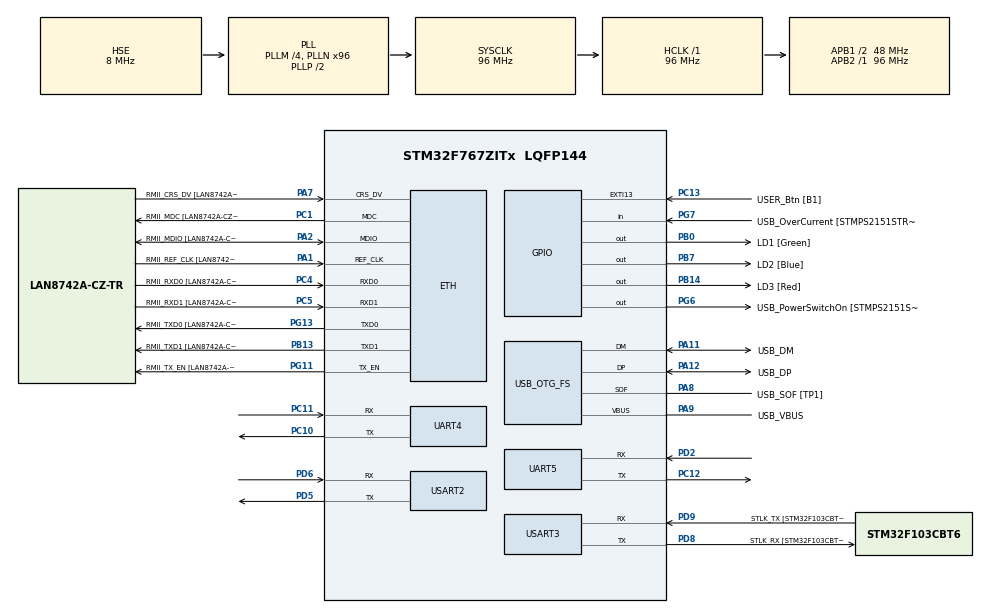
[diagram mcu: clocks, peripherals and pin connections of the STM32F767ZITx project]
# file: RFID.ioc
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ETH.MediaInterface=HAL_ETH_RMII_MODE
ETH.PHY_Name=LAN8742A_PHY_ADDRESS
ETH.PHY_Value=0
ETH.PhyAddress=0
Mcu.Family=STM32F7
Mcu.Name=STM32F767ZITx
Mcu.Package=LQFP144
NVIC.PriorityGroup=NVIC_PRIORITYGROUP_4
NVIC.TIM1_UP_TIM10_IRQn=true\:0\:0\:false\:false\:true\:true\:true\:true
NVIC.UART4_IRQn=true\:0\:0\:false\:false\:true\:true\:true\:true
NVIC.UART5_IRQn=true\:0\:0\:false\:false\:true\:true\:true\:true
NVIC.USART2_IRQn=true\:0\:0\:false\:false\:true\:true\:true\:true
NVIC.USART3_IRQn=true\:0\:0\:false\:false\:true\:true\:true\:true
PA1.GPIO_Label=RMII_REF_CLK [LAN8742A-CZ-TR_REFCLK0]
PA1.Mode=RMII
PA1.Signal=ETH_REF_CLK
PA10.GPIO_Label=USB_ID
PA10.Signal=USB_OTG_FS_ID
PA11.GPIO_Label=USB_DM
PA11.Mode=Device_Only
PA11.Signal=USB_OTG_FS_DM
PA12.GPIO_Label=USB_DP
PA12.Mode=Device_Only
PA12.Signal=USB_OTG_FS_DP
PA13.GPIO_Label=TMS
PA13.Mode=Serial_Wire
PA13.Signal=SYS_JTMS-SWDIO
PA14.GPIO_Label=TCK
PA14.Mode=Serial_Wire
PA14.Signal=SYS_JTCK-SWCLK
PA2.GPIO_Label=RMII_MDIO [LAN8742A-CZ-TR_MDIO]
PA2.Mode=RMII
PA2.Signal=ETH_MDIO
PA7.GPIO_Label=RMII_CRS_DV [LAN8742A-CZ-TR_CRS_DV]
PA7.Mode=RMII
PA7.Signal=ETH_CRS_DV
PA8.GPIO_Label=USB_SOF [TP1]
PA8.Mode=Activate_SOF_FS
PA8.Signal=USB_OTG_FS_SOF
PA9.GPIO_Label=USB_VBUS
PA9.Mode=Activate_VBUS
PA9.Signal=USB_OTG_FS_VBUS
PB0.GPIO_Label=LD1 [Green]
PB0.Signal=GPIO_Output
PB13.GPIO_Label=RMII_TXD1 [LAN8742A-CZ-TR_TXD1]
PB13.Mode=RMII
PB13.Signal=ETH_TXD1
PB14.GPIO_Label=LD3 [Red]
PB14.Signal=GPIO_Output
PB3.GPIO_Label=SWO
PB3.Signal=SYS_JTDO-SWO
PB7.GPIO_Label=LD2 [Blue]
PB7.Signal=GPIO_Output
PC1.GPIO_Label=RMII_MDC [LAN8742A-CZ-TR_MDC]
PC1.Mode=RMII
PC1.Signal=ETH_MDC
PC10.Mode=Asynchronous
PC10.Signal=UART4_TX
PC11.Mode=Asynchronous
PC11.Signal=UART4_RX
PC12.Mode=Asynchronous
PC12.Signal=UART5_TX
PC13.GPIO_Label=USER_Btn [B1]
PC13.Signal=GPXTI13
PC14/OSC32_IN.Mode=LSE-External-Oscillator
PC14/OSC32_IN.Signal=RCC_OSC32_IN
PC15/OSC32_OUT.Mode=LSE-External-Oscillator
PC15/OSC32_OUT.Signal=RCC_OSC32_OUT
PC4.GPIO_Label=RMII_RXD0 [LAN8742A-CZ-TR_RXD0]
PC4.Mode=RMII
PC4.Signal=ETH_RXD0
PC5.GPIO_Label=RMII_RXD1 [LAN8742A-CZ-TR_RXD1]
PC5.Mode=RMII
PC5.Signal=ETH_RXD1
PD2.Mode=Asynchronous
PD2.Signal=UART5_RX
PD5.Mode=Asynchronous
PD5.Signal=USART2_TX
PD6.Mode=Asynchronous
PD6.Signal=USART2_RX
PD8.GPIO_Label=STLK_RX [STM32F103CBT6_PA3]
PD8.Mode=Asynchronous
PD8.Signal=USART3_TX
PD9.GPIO_Label=STLK_TX [STM32F103CBT6_PA2]
PD9.Mode=Asynchronous
PD9.Signal=USART3_RX
PG11.GPIO_Label=RMII_TX_EN [LAN8742A-CZ-TR_TXEN]
PG11.Mode=RMII
PG11.Signal=ETH_TX_EN
PG13.GPIO_Label=RMII_TXD0 [LAN8742A-CZ-TR_TXD0]
PG13.Mode=RMII
PG13.Signal=ETH_TXD0
PG6.GPIO_Label=USB_PowerSwitchOn [STMPS2151STR_EN]
PG6.Signal=GPIO_Output
PG7.GPIO_Label=USB_OverCurrent [STMPS2151STR_FAULT]
PG7.Signal=GPIO_Input
PH0/OSC_IN.GPIO_Label=MCO [STM32F103CBT6_PA8]
PH0/OSC_IN.Mode=HSE-External-Clock-Source
PH0/OSC_IN.Signal=RCC_OSC_IN
PH1/OSC_OUT.Mode=HSE-External-Clock-Source
PH1/OSC_OUT.Signal=RCC_OSC_OUT
ProjectManager.HeapSize=0x200
ProjectManager.StackSize=0x400
ProjectManager.TargetToolchain=STM32CubeIDE
RCC.48MHZClocksFreq_Value=24000000
RCC.AHBFreq_Value=96000000
RCC.APB1CLKDivider=RCC_HCLK_DIV2
RCC.APB1Freq_Value=48000000
RCC.APB1TimFreq_Value=96000000
RCC.APB2Freq_Value=96000000
RCC.APB2TimFreq_Value=96000000
RCC.CortexFreq_Value=96000000
RCC.HCLKFreq_Value=96000000
RCC.HSE_VALUE=8000000
RCC.HSI_VALUE=16000000
RCC.PLLM=4
RCC.PLLMUL=RCC_PLL_MUL9
RCC.PLLN=96
RCC.PLLQ=4
RCC.PRESCALERUSB=RCC_USBCLKSOURCE_PLL_DIV1_5
RCC.SYSCLKFreq_VALUE=96000000
RCC.SYSCLKSource=RCC_SYSCLKSOURCE_PLLCLK
RCC.SYSCLKSourceVirtual=RCC_SYSCLKSOURCE_PLLCLK
RCC.USBFreq_Value=48000000
RCC.VCOOutputFreq_Value=192000000
TIM1.Period=1000-1
TIM1.Prescaler=9600-1
USART2.VirtualMode-Asynchronous=VM_ASYNC
USART3.VirtualMode-Asynchronous=VM_ASYNC
USB_OTG_FS.VirtualMode=Device_Only
VP_TIM1_VS_ClockSourceINT.Mode=Internal
board=NUCLEO-F767ZI

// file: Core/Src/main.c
/* USER CODE BEGIN Header */
/**
 ******************************************************************************
 * @file           : main.c
 * @brief          : Main program body
 ******************************************************************************
 * @attention
 *
 * Copyright (c) 2024 STMicroelectronics.
 * All rights reserved.
 *
 * This software is licensed under terms that can be found in the LICENSE file
 * in the root directory of this software component.
 * If no LICENSE file comes with this software, it is provided AS-IS.
 *
 ******************************************************************************
 */
/* USER CODE END Header */
#include "main.h"
#include "string.h"

/* USER CODE BEGIN Includes */
#include <stdio.h>
/* USER CODE END Includes */

/* USER CODE BEGIN PM */
#define UID_SIZE 8
#define BLOCK_SIZE 4
#define START_DGIT 12 //need data
#define DATA_LENGTH (UID_SIZE+2*BLOCK_SIZE)+4
#define READER_COUNT 3

typedef enum {
	READER0, READER1, READER2
} _RFID;
/* USER CODE END PM */

#if defined ( __ICCARM__ ) /*!< IAR Compiler */
#pragma location=0x2007c000
ETH_DMADescTypeDef  DMARxDscrTab[ETH_RX_DESC_CNT]; /* Ethernet Rx DMA Descriptors */
#pragma location=0x2007c0a0
ETH_DMADescTypeDef  DMATxDscrTab[ETH_TX_DESC_CNT]; /* Ethernet Tx DMA Descriptors */

#elif defined ( __CC_ARM )  /* MDK ARM Compiler */

__attribute__((at(0x2007c000))) ETH_DMADescTypeDef  DMARxDscrTab[ETH_RX_DESC_CNT]; /* Ethernet Rx DMA Descriptors */
__attribute__((at(0x2007c0a0))) ETH_DMADescTypeDef  DMATxDscrTab[ETH_TX_DESC_CNT]; /* Ethernet Tx DMA Descriptors */

#elif defined ( __GNUC__ ) /* GNU Compiler */
ETH_DMADescTypeDef DMARxDscrTab[ETH_RX_DESC_CNT] __attribute__((section(".RxDecripSection"))); /* Ethernet Rx DMA Descriptors */
ETH_DMADescTypeDef DMATxDscrTab[ETH_TX_DESC_CNT] __attribute__((section(".TxDecripSection")));   /* Ethernet Tx DMA Descriptors */

#endif

ETH_TxPacketConfig TxConfig;

ETH_HandleTypeDef heth;

TIM_HandleTypeDef htim1;

UART_HandleTypeDef huart4;
UART_HandleTypeDef huart5;
UART_HandleTypeDef huart2;
UART_HandleTypeDef huart3;

PCD_HandleTypeDef hpcd_USB_OTG_FS;

/* USER CODE BEGIN PV */
uint8_t rfid_tag_data[READER_COUNT][DATA_LENGTH] = { 0, };
uint8_t select_rfid = 0;

uint8_t uart2_buffer; //READER0
uint8_t uart4_buffer; //READER1
uint8_t uart5_buffer; //READER2

uint8_t flag_isTag0 = 0; //reader0 tag exist
uint8_t flag_isTag1 = 0; //reader1 tag exist
uint8_t flag_isTag2 = 0; //reader2 tag exist

uint16_t reader_cnt[3] = {0,}; //reader0 reading count

uint8_t flag_check = 0;

volatile uint8_t command[6] = { 0x33, 0x06, 0xA1, 0x00, 0x02, 0x99 }; //2 Block data read
volatile uint8_t start_scan_cmd[4] = { 0x33, 0x04, 0xB1, 0x99 }; //Start scan mode.
/* USER CODE END PV */

void SystemClock_Config(void);
static void MX_GPIO_Init(void);
static void MX_ETH_Init(void);
static void MX_USART3_UART_Init(void);
static void MX_USB_OTG_FS_PCD_Init(void);
static void MX_UART4_Init(void);
static void MX_TIM1_Init(void);
static void MX_UART5_Init(void);
static void MX_USART2_UART_Init(void);

/* USER CODE BEGIN 0 */
#ifdef __GNUC__
#define PUTCHAR_PROTOTYPE int __io_putchar(int ch)
#else
#define PUTCHAR_PROTOTYPE int fputc(int ch, FILE *f)
#endif

PUTCHAR_PROTOTYPE {
	HAL_UART_Transmit(&huart3, (uint8_t*) &ch, 1, 0xFFFF);
	return ch;
}
/* USER CODE END 0 */

int main(void)
{

  /* MCU Configuration--------------------------------------------------------*/

  /* Reset of all peripherals, Initializes the Flash interface and the Systick. */
  HAL_Init();

  /* Configure the system clock */
  SystemClock_Config();

  /* Initialize all configured peripherals */
  MX_GPIO_Init();
  MX_ETH_Init();
  MX_USART3_UART_Init();
  MX_USB_OTG_FS_PCD_Init();
  MX_UART4_Init();
  MX_TIM1_Init();
  MX_UART5_Init();
  MX_USART2_UART_Init();
  /* USER CODE BEGIN 2 */
	HAL_TIM_Base_Start_IT(&htim1); //RFID TAG check timer start.

	HAL_UART_Receive_IT(&huart2, &uart4_buffer, 1); //READER0 start UART
	HAL_UART_Receive_IT(&huart4, &uart4_buffer, 1); //READER1 start UART
	HAL_UART_Receive_IT(&huart5, &uart5_buffer, 1); //READER2 start UART

	HAL_Delay(1000); //Give Init time for reset of RFID Reader.

	//	HAL_UART_Transmit_IT(&huart4, (uint8_t*) start_scan_cmd, 4);
	printf("-----RFID system start-----\r\n");
  /* USER CODE END 2 */

  /* Infinite loop */
	while (1) {

    /* USER CODE BEGIN 3 */
		/*		if(flag_check==1){
		 flag_check=0;
		 }*/

		if (flag_isTag0 == 1 || flag_isTag1 == 1 || flag_isTag2 == 1) {

/*			printf("Reader%d Total count : %d\r\nUID : ", select_rfid,reader_cnt[select_rfid]);
			for (int number = 12; number < 20; number++) {
				printf("%02X ", rfid_tag_data[select_rfid][number]);
			}
			printf("\r\n");*/
			printf("Reader%d Total count : %d\r\nUID : ", select_rfid,reader_cnt[select_rfid]);
			for (int number = START_DGIT; number < START_DGIT+BLOCK_SIZE; number++) {
				printf("%02X",rfid_tag_data[select_rfid][number]);
			}
			printf(" %s\r\n",&rfid_tag_data[select_rfid][START_DGIT+BLOCK_SIZE]);
//			printf("R0 : %d R1 : %d R2 : %d\r\n", reader_cnt[0], reader_cnt[1], reader_cnt[2]);
			flag_isTag0 = 0;
			flag_isTag1 = 0;
			flag_isTag2 = 0;
		}

	}
  /* USER CODE END 3 */
}

void SystemClock_Config(void)
{
  RCC_OscInitTypeDef RCC_OscInitStruct = {0};
  RCC_ClkInitTypeDef RCC_ClkInitStruct = {0};

  /** Configure LSE Drive Capability
  */
  HAL_PWR_EnableBkUpAccess();

  /** Configure the main internal regulator output voltage
  */
  __HAL_RCC_PWR_CLK_ENABLE();
  __HAL_PWR_VOLTAGESCALING_CONFIG(PWR_REGULATOR_VOLTAGE_SCALE3);

  /** Initializes the RCC Oscillators according to the specified parameters
  * in the RCC_OscInitTypeDef structure.
  */
  RCC_OscInitStruct.OscillatorType = RCC_OSCILLATORTYPE_HSE;
  RCC_OscInitStruct.HSEState = RCC_HSE_BYPASS;
  RCC_OscInitStruct.PLL.PLLState = RCC_PLL_ON;
  RCC_OscInitStruct.PLL.PLLSource = RCC_PLLSOURCE_HSE;
  RCC_OscInitStruct.PLL.PLLM = 4;
  RCC_OscInitStruct.PLL.PLLN = 96;
  RCC_OscInitStruct.PLL.PLLP = RCC_PLLP_DIV2;
  RCC_OscInitStruct.PLL.PLLQ = 4;
  RCC_OscInitStruct.PLL.PLLR = 2;
  if (HAL_RCC_OscConfig(&RCC_OscInitStruct) != HAL_OK)
  {
    Error_Handler();
  }

  /** Activate the Over-Drive mode
  */
  if (HAL_PWREx_EnableOverDrive() != HAL_OK)
  {
    Error_Handler();
  }

  /** Initializes the CPU, AHB and APB buses clocks
  */
  RCC_ClkInitStruct.ClockType = RCC_CLOCKTYPE_HCLK|RCC_CLOCKTYPE_SYSCLK
                              |RCC_CLOCKTYPE_PCLK1|RCC_CLOCKTYPE_PCLK2;
  RCC_ClkInitStruct.SYSCLKSource = RCC_SYSCLKSOURCE_PLLCLK;
  RCC_ClkInitStruct.AHBCLKDivider = RCC_SYSCLK_DIV1;
  RCC_ClkInitStruct.APB1CLKDivider = RCC_HCLK_DIV2;
  RCC_ClkInitStruct.APB2CLKDivider = RCC_HCLK_DIV1;

  if (HAL_RCC_ClockConfig(&RCC_ClkInitStruct, FLASH_LATENCY_3) != HAL_OK)
  {
    Error_Handler();
  }
}

static void MX_ETH_Init(void)
{

   static uint8_t MACAddr[6];

  heth.Instance = ETH;
  MACAddr[0] = 0x00;
  MACAddr[1] = 0x80;
  MACAddr[2] = 0xE1;
  MACAddr[3] = 0x00;
  MACAddr[4] = 0x00;
  MACAddr[5] = 0x00;
  heth.Init.MACAddr = &MACAddr[0];
  heth.Init.MediaInterface = HAL_ETH_RMII_MODE;
  heth.Init.TxDesc = DMATxDscrTab;
  heth.Init.RxDesc = DMARxDscrTab;
  heth.Init.RxBuffLen = 1524;

  if (HAL_ETH_Init(&heth) != HAL_OK)
  {
    Error_Handler();
  }

  memset(&TxConfig, 0 , sizeof(ETH_TxPacketConfig));
  TxConfig.Attributes = ETH_TX_PACKETS_FEATURES_CSUM | ETH_TX_PACKETS_FEATURES_CRCPAD;
  TxConfig.ChecksumCtrl = ETH_CHECKSUM_IPHDR_PAYLOAD_INSERT_PHDR_CALC;
  TxConfig.CRCPadCtrl = ETH_CRC_PAD_INSERT;

}

static void MX_TIM1_Init(void)
{

  TIM_ClockConfigTypeDef sClockSourceConfig = {0};
  TIM_MasterConfigTypeDef sMasterConfig = {0};

  htim1.Instance = TIM1;
  htim1.Init.Prescaler = 9600-1;
  htim1.Init.CounterMode = TIM_COUNTERMODE_UP;
  htim1.Init.Period = 1000-1;
  htim1.Init.ClockDivision = TIM_CLOCKDIVISION_DIV1;
  htim1.Init.RepetitionCounter = 0;
  htim1.Init.AutoReloadPreload = TIM_AUTORELOAD_PRELOAD_DISABLE;
  if (HAL_TIM_Base_Init(&htim1) != HAL_OK)
  {
    Error_Handler();
  }
  sClockSourceConfig.ClockSource = TIM_CLOCKSOURCE_INTERNAL;
  if (HAL_TIM_ConfigClockSource(&htim1, &sClockSourceConfig) != HAL_OK)
  {
    Error_Handler();
  }
  sMasterConfig.MasterOutputTrigger = TIM_TRGO_RESET;
  sMasterConfig.MasterOutputTrigger2 = TIM_TRGO2_RESET;
  sMasterConfig.MasterSlaveMode = TIM_MASTERSLAVEMODE_DISABLE;
  if (HAL_TIMEx_MasterConfigSynchronization(&htim1, &sMasterConfig) != HAL_OK)
  {
    Error_Handler();
  }

}

static void MX_UART4_Init(void)
{

  huart4.Instance = UART4;
  huart4.Init.BaudRate = 115200;
  huart4.Init.WordLength = UART_WORDLENGTH_8B;
  huart4.Init.StopBits = UART_STOPBITS_1;
  huart4.Init.Parity = UART_PARITY_NONE;
  huart4.Init.Mode = UART_MODE_TX_RX;
  huart4.Init.HwFlowCtl = UART_HWCONTROL_NONE;
  huart4.Init.OverSampling = UART_OVERSAMPLING_16;
  huart4.Init.OneBitSampling = UART_ONE_BIT_SAMPLE_DISABLE;
  huart4.AdvancedInit.AdvFeatureInit = UART_ADVFEATURE_NO_INIT;
  if (HAL_UART_Init(&huart4) != HAL_OK)
  {
    Error_Handler();
  }

}

static void MX_UART5_Init(void)
{

  huart5.Instance = UART5;
  huart5.Init.BaudRate = 115200;
  huart5.Init.WordLength = UART_WORDLENGTH_8B;
  huart5.Init.StopBits = UART_STOPBITS_1;
  huart5.Init.Parity = UART_PARITY_NONE;
  huart5.Init.Mode = UART_MODE_TX_RX;
  huart5.Init.HwFlowCtl = UART_HWCONTROL_NONE;
  huart5.Init.OverSampling = UART_OVERSAMPLING_16;
  huart5.Init.OneBitSampling = UART_ONE_BIT_SAMPLE_DISABLE;
  huart5.AdvancedInit.AdvFeatureInit = UART_ADVFEATURE_NO_INIT;
  if (HAL_UART_Init(&huart5) != HAL_OK)
  {
    Error_Handler();
  }

}

static void MX_USART2_UART_Init(void)
{

  huart2.Instance = USART2;
  huart2.Init.BaudRate = 115200;
  huart2.Init.WordLength = UART_WORDLENGTH_8B;
  huart2.Init.StopBits = UART_STOPBITS_1;
  huart2.Init.Parity = UART_PARITY_NONE;
  huart2.Init.Mode = UART_MODE_TX_RX;
  huart2.Init.HwFlowCtl = UART_HWCONTROL_NONE;
  huart2.Init.OverSampling = UART_OVERSAMPLING_16;
  huart2.Init.OneBitSampling = UART_ONE_BIT_SAMPLE_DISABLE;
  huart2.AdvancedInit.AdvFeatureInit = UART_ADVFEATURE_NO_INIT;
  if (HAL_UART_Init(&huart2) != HAL_OK)
  {
    Error_Handler();
  }

}

static void MX_USART3_UART_Init(void)
{

  huart3.Instance = USART3;
  huart3.Init.BaudRate = 115200;
  huart3.Init.WordLength = UART_WORDLENGTH_8B;
  huart3.Init.StopBits = UART_STOPBITS_1;
  huart3.Init.Parity = UART_PARITY_NONE;
  huart3.Init.Mode = UART_MODE_TX_RX;
  huart3.Init.HwFlowCtl = UART_HWCONTROL_NONE;
  huart3.Init.OverSampling = UART_OVERSAMPLING_16;
  huart3.Init.OneBitSampling = UART_ONE_BIT_SAMPLE_DISABLE;
  huart3.AdvancedInit.AdvFeatureInit = UART_ADVFEATURE_NO_INIT;
  if (HAL_UART_Init(&huart3) != HAL_OK)
  {
    Error_Handler();
  }

}

static void MX_USB_OTG_FS_PCD_Init(void)
{

  hpcd_USB_OTG_FS.Instance = USB_OTG_FS;
  hpcd_USB_OTG_FS.Init.dev_endpoints = 6;
  hpcd_USB_OTG_FS.Init.speed = PCD_SPEED_FULL;
  hpcd_USB_OTG_FS.Init.dma_enable = DISABLE;
  hpcd_USB_OTG_FS.Init.phy_itface = PCD_PHY_EMBEDDED;
  hpcd_USB_OTG_FS.Init.Sof_enable = ENABLE;
  hpcd_USB_OTG_FS.Init.low_power_enable = DISABLE;
  hpcd_USB_OTG_FS.Init.lpm_enable = DISABLE;
  hpcd_USB_OTG_FS.Init.vbus_sensing_enable = ENABLE;
  hpcd_USB_OTG_FS.Init.use_dedicated_ep1 = DISABLE;
  if (HAL_PCD_Init(&hpcd_USB_OTG_FS) != HAL_OK)
  {
    Error_Handler();
  }

}

static void MX_GPIO_Init(void)
{
  GPIO_InitTypeDef GPIO_InitStruct = {0};

  /* GPIO Ports Clock Enable */
  __HAL_RCC_GPIOC_CLK_ENABLE();
  __HAL_RCC_GPIOH_CLK_ENABLE();
  __HAL_RCC_GPIOA_CLK_ENABLE();
  __HAL_RCC_GPIOB_CLK_ENABLE();
  __HAL_RCC_GPIOD_CLK_ENABLE();
  __HAL_RCC_GPIOG_CLK_ENABLE();

  /*Configure GPIO pin Output Level */
  HAL_GPIO_WritePin(GPIOB, LD1_Pin|LD3_Pin|LD2_Pin, GPIO_PIN_RESET);

  /*Configure GPIO pin Output Level */
  HAL_GPIO_WritePin(USB_PowerSwitchOn_GPIO_Port, USB_PowerSwitchOn_Pin, GPIO_PIN_RESET);

  /*Configure GPIO pin : USER_Btn_Pin */
  GPIO_InitStruct.Pin = USER_Btn_Pin;
  GPIO_InitStruct.Mode = GPIO_MODE_IT_RISING;
  GPIO_InitStruct.Pull = GPIO_NOPULL;
  HAL_GPIO_Init(USER_Btn_GPIO_Port, &GPIO_InitStruct);

  /*Configure GPIO pins : LD1_Pin LD3_Pin LD2_Pin */
  GPIO_InitStruct.Pin = LD1_Pin|LD3_Pin|LD2_Pin;
  GPIO_InitStruct.Mode = GPIO_MODE_OUTPUT_PP;
  GPIO_InitStruct.Pull = GPIO_NOPULL;
  GPIO_InitStruct.Speed = GPIO_SPEED_FREQ_LOW;
  HAL_GPIO_Init(GPIOB, &GPIO_InitStruct);

  /*Configure GPIO pin : USB_PowerSwitchOn_Pin */
  GPIO_InitStruct.Pin = USB_PowerSwitchOn_Pin;
  GPIO_InitStruct.Mode = GPIO_MODE_OUTPUT_PP;
  GPIO_InitStruct.Pull = GPIO_NOPULL;
  GPIO_InitStruct.Speed = GPIO_SPEED_FREQ_LOW;
  HAL_GPIO_Init(USB_PowerSwitchOn_GPIO_Port, &GPIO_InitStruct);

  /*Configure GPIO pin : USB_OverCurrent_Pin */
  GPIO_InitStruct.Pin = USB_OverCurrent_Pin;
  GPIO_InitStruct.Mode = GPIO_MODE_INPUT;
  GPIO_InitStruct.Pull = GPIO_NOPULL;
  HAL_GPIO_Init(USB_OverCurrent_GPIO_Port, &GPIO_InitStruct);

}

/* USER CODE BEGIN 4 */
void HAL_UART_RxCpltCallback(UART_HandleTypeDef *huart) {
	/*READER 0*/
	if (huart->Instance == huart2.Instance) {
		volatile static uint8_t rxcnt = 0;
		static char rxbuf[DATA_LENGTH]; // cmd :  3, parm :  4

		if (0x33 == uart2_buffer && rxcnt == 0)
			rxcnt = 1;
		else if (rxcnt > 0 && rxcnt < (DATA_LENGTH + 1)) {
			rxbuf[rxcnt - 1] = uart2_buffer;
			rxcnt++;
		} else if (rxcnt == (DATA_LENGTH + 1) && uart2_buffer == 0x99) {
			rxcnt = 0;
			memcpy(rfid_tag_data[READER0], rxbuf, DATA_LENGTH);
			flag_isTag0 = 1;
			reader_cnt[READER0]++;
			select_rfid = READER0;
		} else {
			rxcnt = 0;
		}
		HAL_UART_Receive_IT(&huart2, &uart2_buffer, 1);
	}
	/*READER 1*/
	if (huart->Instance == huart4.Instance) { //READER 1
		volatile static uint8_t rxcnt = 0;
		static char rxbuf[DATA_LENGTH]; // cmd :  3, parm :  4

		if (0x33 == uart4_buffer && rxcnt == 0)
			rxcnt = 1;
		else if (rxcnt > 0 && rxcnt < (DATA_LENGTH + 1)) {
			rxbuf[rxcnt - 1] = uart4_buffer;
			rxcnt++;
		} else if (rxcnt == (DATA_LENGTH + 1) && uart4_buffer == 0x99) {
			rxcnt = 0;
			memcpy(rfid_tag_data[READER1], rxbuf, DATA_LENGTH);
			flag_isTag1 = 1;
			reader_cnt[READER1]++;
			select_rfid = READER1;
		} else {
			rxcnt = 0;
		}
		HAL_UART_Receive_IT(&huart4, &uart4_buffer, 1);
	}
	/*READER 2*/
	if (huart->Instance == huart5.Instance) { //READER 2
		volatile static uint8_t rxcnt = 0;
		static char rxbuf[DATA_LENGTH]; // cmd :  3, parm :  4

		if (0x33 == uart5_buffer && rxcnt == 0)
			rxcnt = 1;
		else if (rxcnt > 0 && rxcnt < (DATA_LENGTH + 1)) {
			rxbuf[rxcnt - 1] = uart5_buffer;
			rxcnt++;
		} else if (rxcnt == (DATA_LENGTH + 1) && uart5_buffer == 0x99) {
			rxcnt = 0;
			memcpy(rfid_tag_data[READER2], rxbuf, DATA_LENGTH);
			flag_isTag2 = 1;
			reader_cnt[READER2]++;
			select_rfid = READER2;
		} else {
			rxcnt = 0;
		}
		HAL_UART_Receive_IT(&huart5, &uart5_buffer, 1);
	}
}
void HAL_TIM_PeriodElapsedCallback(TIM_HandleTypeDef *htim) {
	if (htim->Instance == TIM1) {
//		flag_check=1;
		HAL_UART_Transmit_IT(&huart2, (uint8_t*) command, 6);
		HAL_UART_Transmit_IT(&huart4, (uint8_t*) command, 6);
		HAL_UART_Transmit_IT(&huart5, (uint8_t*) command, 6);
	}
}
/* USER CODE END 4 */

void Error_Handler(void)
{
	__disable_irq();
	while (1) {
	}
}
